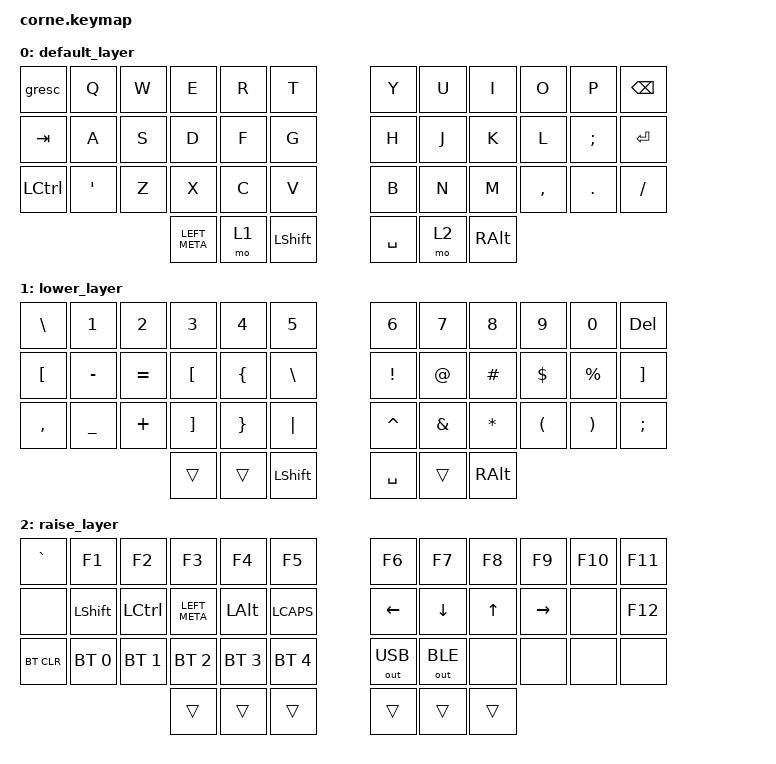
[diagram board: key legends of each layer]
/*
 * Copyright (c) 2020 The ZMK Contributors
 *
 * SPDX-License-Identifier: MIT
 */

#include <behaviors.dtsi>
#include <dt-bindings/zmk/bt.h>
#include <dt-bindings/zmk/keys.h>
#include <dt-bindings/zmk/outputs.h>

/ {
    combos { compatible = "zmk,combos"; };

    conditional_layers { compatible = "zmk,conditional-layers"; };

    behaviors {
        moment_tog: moment_tog {
            compatible = "zmk,behavior-hold-tap";
            label = "MOMENT_TOG";
            bindings = <&mo>, <&tog>;

            #binding-cells = <2>;
            tapping-term-ms = <150>;
            hold-trigger-key-positions = <40 37>;
            flavor = "balanced";
        };

        tap_hold: tap_hold {
            compatible = "zmk,behavior-hold-tap";
            label = "TAP_HOLD";
            bindings = <&kp>, <&to>;

            #binding-cells = <2>;
            tapping-term-ms = <150>;
            hold-trigger-key-positions = <0>;
            hold-trigger-on-release;
        };
    };

    keymap {
        compatible = "zmk,keymap";

        default_layer {
            // -----------------------------------------------------------------------------------------
            // |  TAB |  Q  |  W  |  E  |  R  |  T  |   |  Y  |  U   |  I  |  O  |  P  | BKSP |
            // | CTRL |  A  |  S  |  D  |  F  |  G  |   |  H  |  J   |  K  |  L  |  ;  |  '   |
            // | SHFT |  Z  |  X  |  C  |  V  |  B  |   |  N  |  M   |  ,  |  .  |  /  | ESC  |
            //                    | GUI | LWR | SPC |   | ENT | RSE  | ALT |

            bindings = <
&gresc            &kp Q           &kp W  &kp E          &kp R  &kp T             &kp Y      &kp U  &kp I     &kp O      &kp P       &kp BSPC
&kp TAB           &kp A           &kp S  &kp D          &kp F  &kp G             &kp H      &kp J  &kp K     &kp L      &kp SEMI    &kp ENTER
&kp LEFT_CONTROL  &kp APOSTROPHE  &kp Z  &kp X          &kp C  &kp V             &kp B      &kp N  &kp M     &kp COMMA  &kp PERIOD  &kp SLASH
                                         &kp LEFT_META  &mo 1  &kp LEFT_SHIFT    &kp SPACE  &mo 2  &kp RALT
            >;
        };

        lower_layer {
            // -----------------------------------------------------------------------------------------
            // |  TAB |  1  |  2  |  3  |  4  |  5  |   |  6  |  7  |  8  |  9  |  0  | BKSP |
            // | BTCLR| BT1 | BT2 | BT3 | BT4 | BT5 |   | LFT | DWN |  UP | RGT |     |      |
            // | SHFT |     |     |     |     |     |   |     |     |     |     |     |      |
            //                    | GUI |     | SPC |   | ENT |     | ALT |

            bindings = <
&kp BACKSLASH     &kp NUMBER_1  &kp NUMBER_2  &kp NUMBER_3  &kp NUMBER_4  &kp N5            &kp NUMBER_6     &kp N7         &kp N8        &kp N9                &kp N0                 &kp DEL
&kp LEFT_BRACKET  &kp MINUS     &kp EQUAL     &kp LBKT      &kp LBRC      &kp BSLH          &kp EXCLAMATION  &kp AT_SIGN    &kp HASH      &kp DOLLAR            &kp PERCENT            &kp RIGHT_BRACKET
&kp COMMA         &kp UNDER     &kp PLUS      &kp RBKT      &kp RBRC      &kp PIPE          &kp CARET        &kp AMPERSAND  &kp ASTERISK  &kp LEFT_PARENTHESIS  &kp RIGHT_PARENTHESIS  &kp SEMICOLON
                                              &trans        &trans        &kp LEFT_SHIFT    &kp SPACE        &trans         &kp RALT
            >;
        };

        raise_layer {
            // -----------------------------------------------------------------------------------------
            // |  TAB |  !  |  @  |  #  |  $  |  %  |   |  ^  |  &  |  *  |  (  |  )  | BKSP |
            // | CTRL |     |     |     |     |     |   |  -  |  =  |  [  |  ]  |  \  |  `   |
            // | SHFT |     |     |     |     |     |   |  _  |  +  |  {  |  }  | "|" |  ~   |
            //                    | GUI |     | SPC |   | ENT |     | ALT |

            bindings = <
&kp GRAVE   &kp F1        &kp F2            &kp F3         &kp F4        &kp F5          &kp F6        &kp F7        &kp F8  &kp F9     &kp F10  &kp F11
&none       &kp LSHFT     &kp LEFT_CONTROL  &kp LEFT_META  &kp LEFT_ALT  &kp LCAPS       &kp LEFT      &kp DOWN      &kp UP  &kp RIGHT  &none    &kp F12
&bt BT_CLR  &bt BT_SEL 0  &bt BT_SEL 1      &bt BT_SEL 2   &bt BT_SEL 3  &bt BT_SEL 4    &out OUT_USB  &out OUT_BLE  &none   &none      &none    &none
                                            &trans         &trans        &trans          &trans        &trans        &trans
            >;
        };
    };
};
